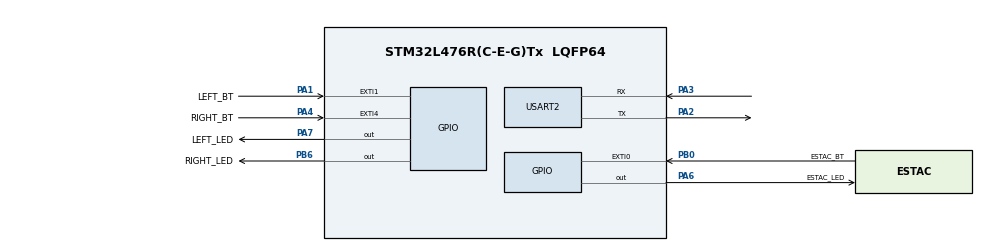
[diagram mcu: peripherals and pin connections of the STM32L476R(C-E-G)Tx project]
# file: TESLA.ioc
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Mcu.Family=STM32L4
Mcu.Name=STM32L476R(C-E-G)Tx
Mcu.Package=LQFP64
NVIC.EXTI0_IRQn=true\:0\:0\:false\:false\:true\:true\:true\:true
NVIC.EXTI1_IRQn=true\:0\:0\:false\:false\:true\:true\:true\:true
NVIC.EXTI4_IRQn=true\:0\:0\:false\:false\:true\:true\:true\:true
NVIC.PriorityGroup=NVIC_PRIORITYGROUP_4
PA1.GPIO_Label=LEFT_BT
PA1.Signal=GPXTI1
PA2.Mode=Asynchronous
PA2.Signal=USART2_TX
PA3.Mode=Asynchronous
PA3.Signal=USART2_RX
PA4.GPIO_Label=RIGHT_BT
PA4.Signal=GPXTI4
PA6.GPIO_Label=ESTAC_LED
PA6.PinState=GPIO_PIN_SET
PA6.Signal=GPIO_Output
PA7.GPIO_Label=LEFT_LED
PA7.PinState=GPIO_PIN_SET
PA7.Signal=GPIO_Output
PB0.GPIO_Label=ESTAC_BT
PB0.Signal=GPXTI0
PB6.GPIO_Label=RIGHT_LED
PB6.PinState=GPIO_PIN_SET
PB6.Signal=GPIO_Output
ProjectManager.HeapSize=0x200
ProjectManager.StackSize=0x400
ProjectManager.TargetToolchain=STM32CubeIDE
RCC.HSE_VALUE=8000000
RCC.HSI_VALUE=16000000
RCC.LSE_VALUE=32768
RCC.MSI_VALUE=4000000
RCC.VCOOutputFreq_Value=32000000
USART2.VirtualMode-Asynchronous=VM_ASYNC
board=custom

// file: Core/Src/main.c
/* USER CODE BEGIN Header */
/**
  ******************************************************************************
  * @file           : main.c
  * @brief          : Main program body
  ******************************************************************************
  * @attention
  *
  * Copyright (c) 2024 STMicroelectronics.
  * All rights reserved.
  *
  * This software is licensed under terms that can be found in the LICENSE file
  * in the root directory of this software component.
  * If no LICENSE file comes with this software, it is provided AS-IS.
  *
  ******************************************************************************
  */
/* USER CODE END Header */
#include "main.h"

UART_HandleTypeDef huart2;

/* USER CODE BEGIN PV */
uint8_t left_pressed = 0;
uint8_t right_pressed = 0;
uint8_t estac_pressed = 0;
/* USER CODE END PV */

void SystemClock_Config(void);
static void MX_GPIO_Init(void);
static void MX_USART2_UART_Init(void);

/* USER CODE BEGIN 0 */
void HAL_GPIO_EXTI_Callback(uint16_t GPIO_Pin)
{
  if (GPIO_Pin == LEFT_BT_Pin){

	  left_pressed = 1;
  }

  if (GPIO_Pin == RIGHT_BT_Pin){

  	  right_pressed = 1;
    }

  if (GPIO_Pin == ESTAC_BT_Pin){

  	  estac_pressed = 1;
    }

}
/* USER CODE END 0 */

int main(void)
{

  /* MCU Configuration--------------------------------------------------------*/

  /* Reset of all peripherals, Initializes the Flash interface and the Systick. */
  HAL_Init();

  /* Configure the system clock */
  SystemClock_Config();

  /* Initialize all configured peripherals */
  MX_GPIO_Init();
  MX_USART2_UART_Init();
  /* USER CODE BEGIN 2 */
  HAL_UART_Transmit(&huart2, "INICIAR\r\n", 9, HAL_MAX_DELAY);
  /* USER CODE END 2 */

  /* Infinite loop */
  /* USER CODE BEGIN WHILE */
  uint32_t left_last_pressed_tick = 0;
  uint32_t left_blinks = 0;
  uint32_t left_tick = 0;

  uint32_t right_last_pressed_tick = 0;
  uint32_t right_blinks = 0;
  uint32_t right_tick = 0;

  uint32_t estac_last_pressed_tick = 0;
  uint32_t estac_blinks = 0;
  uint32_t estac_tick = 0;

  while (1)
  {
    /* USER CODE END WHILE */

    /* USER CODE BEGIN 3 */
	  if (left_pressed != 0) {
		  left_pressed = 0;
		  HAL_UART_Transmit(&huart2, "IZQUIERDA\r\n", 11, HAL_MAX_DELAY);
		  // 5. Si un botón de giro se presiona 1 vez: la luz del lado correspondiente parpadea 3 veces.
		  left_blinks = 6;
		  if (HAL_GetTick() - left_last_pressed_tick < 300) {
			  // 6. Si un botón de giro se presiona 2 o mas veces durante 300ms: la luz del lado correspondiente parpadea indefinidamente.
			  left_blinks = 0xFFFFFFFF;
			  right_blinks = 0;
			  estac_blinks = 0;
		  }
		  left_last_pressed_tick = HAL_GetTick();
		  // 7. Si un botón de giro se presiona y la luz del otro lado esta activa: se desactiva la luz del otro lado.
		  right_blinks = 0;
		  estac_blinks = 0;
	  }
	  if (right_pressed != 0) {
		  right_pressed = 0;
		  HAL_UART_Transmit(&huart2, "DERECHA\r\n", 9, HAL_MAX_DELAY);
		  // 5. Si un botón de giro se presiona 1 vez: la luz del lado correspondiente parpadea 3 veces.
		  right_blinks = 6;
		  if (HAL_GetTick() - right_last_pressed_tick < 300) {
			  // 6. Si un botón de giro se presiona 2 o mas veces durante 300ms: la luz del lado correspondiente parpadea indefinidamente.
			  right_blinks = 0xFFFFFFFF;
			  left_blinks = 0;
			  estac_blinks = 0;
		  }
		  right_last_pressed_tick = HAL_GetTick();
		  // 7. Si un botón de giro se presiona y la luz del otro lado esta activa: se desactiva la luz del otro lado.
		 left_blinks = 0;
		 estac_blinks = 0;
	  }

	  if (estac_pressed != 0) {
		  estac_pressed = 0;
		  // 4. Debe enviar mensajes de información por la consola cuando hayan eventos en el sistema.
		  HAL_UART_Transmit(&huart2, "ESTACIONARIA\r\n", 12, HAL_MAX_DELAY);
		  // 5. Si un botón de giro se presiona 1 vez: la luz del lado correspondiente parpadea 3 veces.
		  left_blinks = 0xFFFFFFFF;
		  right_blinks = 0xFFFFFFFF;
		  estac_last_pressed_tick = HAL_GetTick();
	  }

	  // 2. Tener 2 luces(LEDs): Luz Izquierda(D3), Luz Derecha(D4).
	  if (left_blinks > 0) {
		  if (left_tick < HAL_GetTick()){
			  HAL_GPIO_TogglePin(LEFT_LED_GPIO_Port, LEFT_LED_Pin);
			  // 8. La frecuencia de parpadeo de las luces debe ser de 2Hz (toggle every 250ms).
			  left_tick = HAL_GetTick() + 250;
			  left_blinks--;
		  }
	  }
	  if (right_blinks > 0) {
		  if (right_tick < HAL_GetTick()){
			  HAL_GPIO_TogglePin(RIGHT_LED_GPIO_Port, RIGHT_LED_Pin);
			  // 8. La frecuencia de parpadeo de las luces debe ser de 2Hz (toggle every 250ms).
			  right_tick = HAL_GetTick() + 250;
			  right_blinks--;
		  }
	  }

	  if (estac_tick < HAL_GetTick()) {
	      HAL_GPIO_TogglePin(ESTAC_LED_GPIO_Port, ESTAC_LED_Pin);
	      // 8. La frecuencia de parpadeo de las luces debe ser de 1Hz (toggle every 500ms).
	      estac_tick = HAL_GetTick() + 500;
	  }

  }
  /* USER CODE END 3 */
}

void SystemClock_Config(void)
{
  RCC_OscInitTypeDef RCC_OscInitStruct = {0};
  RCC_ClkInitTypeDef RCC_ClkInitStruct = {0};

  /** Configure the main internal regulator output voltage
  */
  if (HAL_PWREx_ControlVoltageScaling(PWR_REGULATOR_VOLTAGE_SCALE1) != HAL_OK)
  {
    Error_Handler();
  }

  /** Initializes the RCC Oscillators according to the specified parameters
  * in the RCC_OscInitTypeDef structure.
  */
  RCC_OscInitStruct.OscillatorType = RCC_OSCILLATORTYPE_MSI;
  RCC_OscInitStruct.MSIState = RCC_MSI_ON;
  RCC_OscInitStruct.MSICalibrationValue = 0;
  RCC_OscInitStruct.MSIClockRange = RCC_MSIRANGE_6;
  RCC_OscInitStruct.PLL.PLLState = RCC_PLL_NONE;
  if (HAL_RCC_OscConfig(&RCC_OscInitStruct) != HAL_OK)
  {
    Error_Handler();
  }

  /** Initializes the CPU, AHB and APB buses clocks
  */
  RCC_ClkInitStruct.ClockType = RCC_CLOCKTYPE_HCLK|RCC_CLOCKTYPE_SYSCLK
                              |RCC_CLOCKTYPE_PCLK1|RCC_CLOCKTYPE_PCLK2;
  RCC_ClkInitStruct.SYSCLKSource = RCC_SYSCLKSOURCE_MSI;
  RCC_ClkInitStruct.AHBCLKDivider = RCC_SYSCLK_DIV1;
  RCC_ClkInitStruct.APB1CLKDivider = RCC_HCLK_DIV1;
  RCC_ClkInitStruct.APB2CLKDivider = RCC_HCLK_DIV1;

  if (HAL_RCC_ClockConfig(&RCC_ClkInitStruct, FLASH_LATENCY_0) != HAL_OK)
  {
    Error_Handler();
  }
}

static void MX_USART2_UART_Init(void)
{

  huart2.Instance = USART2;
  huart2.Init.BaudRate = 115200;
  huart2.Init.WordLength = UART_WORDLENGTH_8B;
  huart2.Init.StopBits = UART_STOPBITS_1;
  huart2.Init.Parity = UART_PARITY_NONE;
  huart2.Init.Mode = UART_MODE_TX_RX;
  huart2.Init.HwFlowCtl = UART_HWCONTROL_NONE;
  huart2.Init.OverSampling = UART_OVERSAMPLING_16;
  huart2.Init.OneBitSampling = UART_ONE_BIT_SAMPLE_DISABLE;
  huart2.AdvancedInit.AdvFeatureInit = UART_ADVFEATURE_NO_INIT;
  if (HAL_UART_Init(&huart2) != HAL_OK)
  {
    Error_Handler();
  }

}

static void MX_GPIO_Init(void)
{
  GPIO_InitTypeDef GPIO_InitStruct = {0};

  /* GPIO Ports Clock Enable */
  __HAL_RCC_GPIOA_CLK_ENABLE();
  __HAL_RCC_GPIOB_CLK_ENABLE();

  /*Configure GPIO pin Output Level */
  HAL_GPIO_WritePin(GPIOA, ESTAC_LED_Pin|LEFT_LED_Pin, GPIO_PIN_SET);

  /*Configure GPIO pin Output Level */
  HAL_GPIO_WritePin(RIGHT_LED_GPIO_Port, RIGHT_LED_Pin, GPIO_PIN_SET);

  /*Configure GPIO pins : LEFT_BT_Pin RIGHT_BT_Pin */
  GPIO_InitStruct.Pin = LEFT_BT_Pin|RIGHT_BT_Pin;
  GPIO_InitStruct.Mode = GPIO_MODE_IT_RISING;
  GPIO_InitStruct.Pull = GPIO_NOPULL;
  HAL_GPIO_Init(GPIOA, &GPIO_InitStruct);

  /*Configure GPIO pins : ESTAC_LED_Pin LEFT_LED_Pin */
  GPIO_InitStruct.Pin = ESTAC_LED_Pin|LEFT_LED_Pin;
  GPIO_InitStruct.Mode = GPIO_MODE_OUTPUT_PP;
  GPIO_InitStruct.Pull = GPIO_NOPULL;
  GPIO_InitStruct.Speed = GPIO_SPEED_FREQ_LOW;
  HAL_GPIO_Init(GPIOA, &GPIO_InitStruct);

  /*Configure GPIO pin : ESTAC_BT_Pin */
  GPIO_InitStruct.Pin = ESTAC_BT_Pin;
  GPIO_InitStruct.Mode = GPIO_MODE_IT_RISING;
  GPIO_InitStruct.Pull = GPIO_NOPULL;
  HAL_GPIO_Init(ESTAC_BT_GPIO_Port, &GPIO_InitStruct);

  /*Configure GPIO pin : RIGHT_LED_Pin */
  GPIO_InitStruct.Pin = RIGHT_LED_Pin;
  GPIO_InitStruct.Mode = GPIO_MODE_OUTPUT_PP;
  GPIO_InitStruct.Pull = GPIO_NOPULL;
  GPIO_InitStruct.Speed = GPIO_SPEED_FREQ_LOW;
  HAL_GPIO_Init(RIGHT_LED_GPIO_Port, &GPIO_InitStruct);

  /* EXTI interrupt init*/
  HAL_NVIC_SetPriority(EXTI0_IRQn, 0, 0);
  HAL_NVIC_EnableIRQ(EXTI0_IRQn);

  HAL_NVIC_SetPriority(EXTI1_IRQn, 0, 0);
  HAL_NVIC_EnableIRQ(EXTI1_IRQn);

  HAL_NVIC_SetPriority(EXTI4_IRQn, 0, 0);
  HAL_NVIC_EnableIRQ(EXTI4_IRQn);

}

void Error_Handler(void)
{
  __disable_irq();
  while (1)
  {
  }
}
